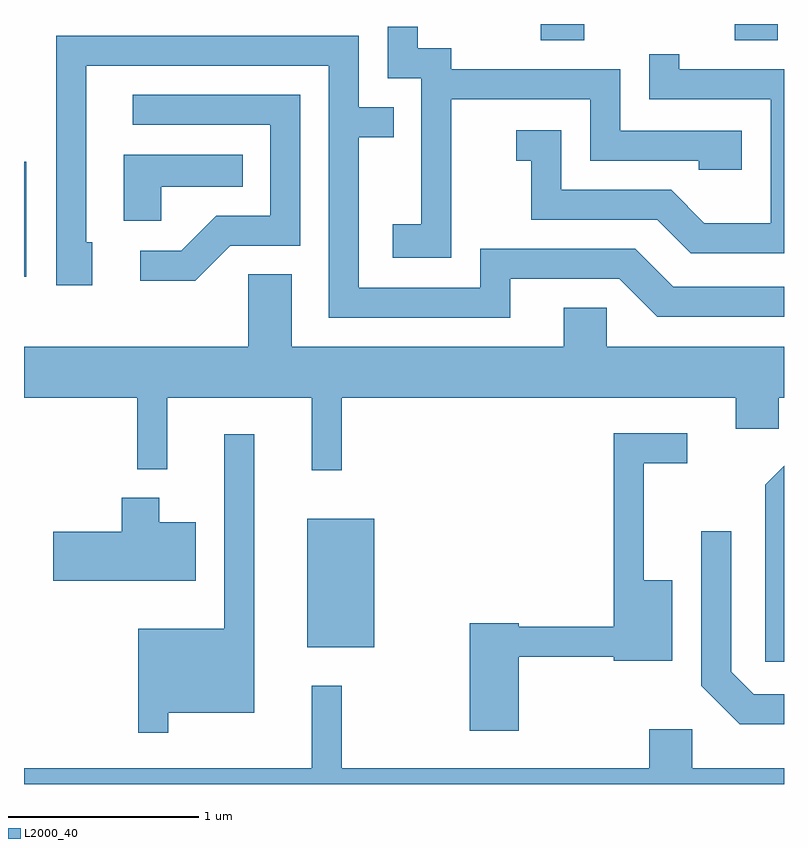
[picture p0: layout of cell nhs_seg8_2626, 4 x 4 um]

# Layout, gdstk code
import gdstk
lib = gdstk.Library(unit=1e-6, precision=1e-09)
def R(c, l, rs):  # rectangles x0, y0, x1, y1
    for r in rs: c.add(gdstk.rectangle(r[:2], r[2:], *l))
def P(c, l, *ps):  # polygons
    for p in ps: c.add(gdstk.Polygon(p, *l))
L2000_40 = (2000, 40)

nhs_seg8_2626 = lib.new_cell('nhs_seg8_2626')
R(nhs_seg8_2626, L2000_40, [(265.101,1875.061,265.454,1875.739), (263.611,1877.011,263.624,1877.618), (266.331,1878.256,266.559,1878.342), (267.351,1878.256,267.579,1878.342)])
P(nhs_seg8_2626, L2000_40, [(265.859,1877.946),(266.591,1877.946),(266.591,1877.621),(267.161,1877.621),(267.161,1877.576),(267.389,1877.576),(267.389,1877.779),(266.749,1877.779),(266.749,1878.104),(265.859,1878.104),(265.859,1878.214),(265.684,1878.214),(265.684,1878.328),(265.526,1878.328),(265.526,1878.056),(265.701,1878.056),(265.701,1877.289),(265.551,1877.289),(265.551,1877.111),(265.859,1877.111)],
  [(266.169,1877.001),(266.744,1877.001),(266.944,1876.801),(267.611,1876.801),(267.611,1876.959),(267.027,1876.959),(266.827,1877.159),(266.011,1877.159),(266.011,1876.954),(265.374,1876.954),(265.374,1877.746),(265.558,1877.746),(265.558,1877.904),(265.374,1877.904),(265.374,1878.279),(263.781,1878.279),(263.781,1876.966),(263.969,1876.966),(263.969,1877.194),(263.939,1877.194),(263.939,1878.121),(265.216,1878.121),(265.216,1876.796),(266.169,1876.796)],
  [(267.611,1878.104),(267.059,1878.104),(267.059,1878.183),(266.901,1878.183),(266.901,1877.946),(267.541,1877.946),(267.541,1877.294),(267.192,1877.294),(267.017,1877.469),(266.439,1877.469),(266.439,1877.784),(266.203,1877.784),(266.203,1877.621),(266.281,1877.621),(266.281,1877.311),(266.944,1877.311),(267.119,1877.136),(267.611,1877.136)],
  [(264.697,1877.176),(265.064,1877.176),(265.064,1877.969),(264.183,1877.969),(264.183,1877.811),(264.906,1877.811),(264.906,1877.334),(264.624,1877.334),(264.439,1877.149),(264.223,1877.149),(264.223,1876.991),(264.512,1876.991)],
  [(264.334,1877.486),(264.763,1877.486),(264.763,1877.654),(264.136,1877.654),(264.136,1877.306),(264.334,1877.306)],
  [(265.284,1876.376),(267.356,1876.376),(267.356,1876.211),(267.584,1876.211),(267.584,1876.376),(267.611,1876.376),(267.611,1876.644),(266.679,1876.644),(266.679,1876.849),(266.451,1876.849),(266.451,1876.644),(265.019,1876.644),(265.019,1877.024),(264.791,1877.024),(264.791,1876.644),(263.611,1876.644),(263.611,1876.376),(264.206,1876.376),(264.206,1875.998),(264.364,1875.998),(264.364,1876.376),(265.126,1876.376),(265.126,1875.993),(265.284,1875.993)],
  [(266.214,1875.011),(266.716,1875.011),(266.716,1874.991),(267.024,1874.991),(267.024,1875.414),(266.874,1875.414),(266.874,1876.031),(267.103,1876.031),(267.103,1876.189),(266.716,1876.189),(266.716,1875.169),(266.214,1875.169),(266.214,1875.189),(265.956,1875.189),(265.956,1874.621),(266.214,1874.621)],
  [(264.369,1874.716),(264.824,1874.716),(264.824,1876.183),(264.666,1876.183),(264.666,1875.159),(264.211,1875.159),(264.211,1874.613),(264.369,1874.613)],
  [(267.611,1876.017),(267.511,1875.917),(267.511,1874.986),(267.611,1874.986)],
  [(264.514,1875.719),(264.324,1875.719),(264.324,1875.849),(264.126,1875.849),(264.126,1875.669),(263.766,1875.669),(263.766,1875.411),(264.514,1875.411)],
  [(267.611,1874.814),(267.452,1874.814),(267.334,1874.932),(267.334,1875.673),(267.176,1875.673),(267.176,1874.859),(267.379,1874.656),(267.611,1874.656)],
  [(267.611,1874.424),(267.129,1874.424),(267.129,1874.629),(266.901,1874.629),(266.901,1874.424),(265.284,1874.424),(265.284,1874.858),(265.126,1874.858),(265.126,1874.424),(263.611,1874.424),(263.611,1874.342),(267.611,1874.342)])

lib.write_gds('nhs_seg8_2626.gds')
